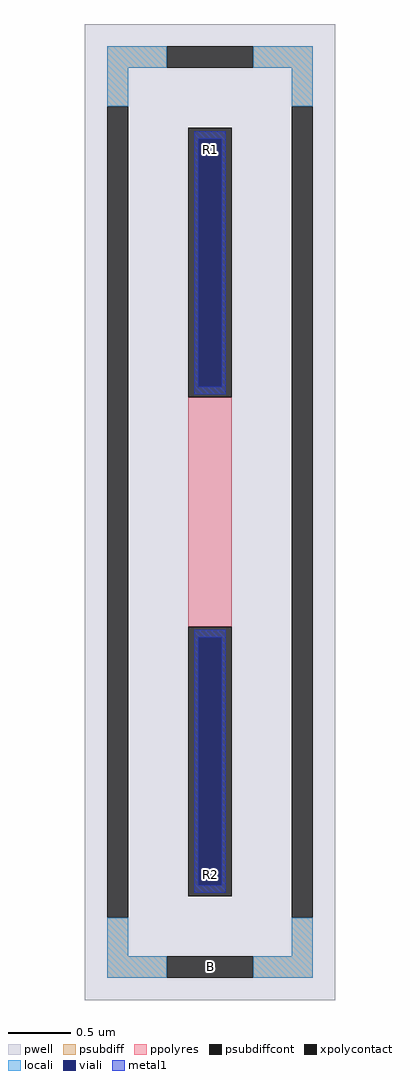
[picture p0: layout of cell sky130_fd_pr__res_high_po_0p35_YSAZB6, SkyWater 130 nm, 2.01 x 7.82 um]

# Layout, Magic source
magic
tech sky130A
magscale 1 2
<< pwell >>
rect -201 -782 201 782
<< psubdiff >>
rect -165 712 -69 746
rect 69 712 165 746
rect -165 650 -131 712
rect 131 650 165 712
rect -165 -712 -131 -650
rect 131 -712 165 -650
rect -165 -746 -69 -712
rect 69 -746 165 -712
<< psubdiffcont >>
rect -69 712 69 746
rect -165 -650 -131 650
rect 131 -650 165 650
rect -69 -746 69 -712
<< xpolycontact >>
rect -35 184 35 616
rect -35 -616 35 -184
<< ppolyres >>
rect -35 -184 35 184
<< locali >>
rect -165 712 -69 746
rect 69 712 165 746
rect -165 650 -131 712
rect 131 650 165 712
rect -165 -712 -131 -650
rect 131 -712 165 -650
rect -165 -746 -69 -712
rect 69 -746 165 -712
<< viali >>
rect -19 201 19 598
rect -19 -598 19 -201
<< metal1 >>
rect -25 598 25 610
rect -25 201 -19 598
rect 19 201 25 598
rect -25 189 25 201
rect -25 -201 25 -189
rect -25 -598 -19 -201
rect 19 -598 25 -201
rect -25 -610 25 -598
<< labels >>
rlabel psubdiffcont 0 -729 0 -729 0 B
port 1 nsew
rlabel xpolycontact 0 581 0 581 0 R1
port 2 nsew
rlabel xpolycontact 0 -581 0 -581 0 R2
port 3 nsew
<< properties >>
string FIXED_BBOX -148 -729 148 729
string gencell sky130_fd_pr__res_high_po_0p35
string library sky130
string MASKHINTS_RPM -240 -1356 240 1252
string parameters w 0.35 l 2.0 m 1 nx 1 wmin 0.350 lmin 0.50 class resistor rho 319.8 val 2.94k dummy 0 dw 0.0 term 194.82 sterm 0.0 caplen 0 guard 1 glc 1 grc 1 gtc 1 gbc 1 compatible {sky130_fd_pr__res_high_po_0p35  sky130_fd_pr__res_high_po_0p69 sky130_fd_pr__res_high_po_1p41  sky130_fd_pr__res_high_po_2p85 sky130_fd_pr__res_high_po_5p73} snake 0 full_metal 1 wmax 0.350 vias 1 n_guard 0 hv_guard 0 viagb 0 viagt 0 viagl 0 viagr 0 doports 1
<< end >>
